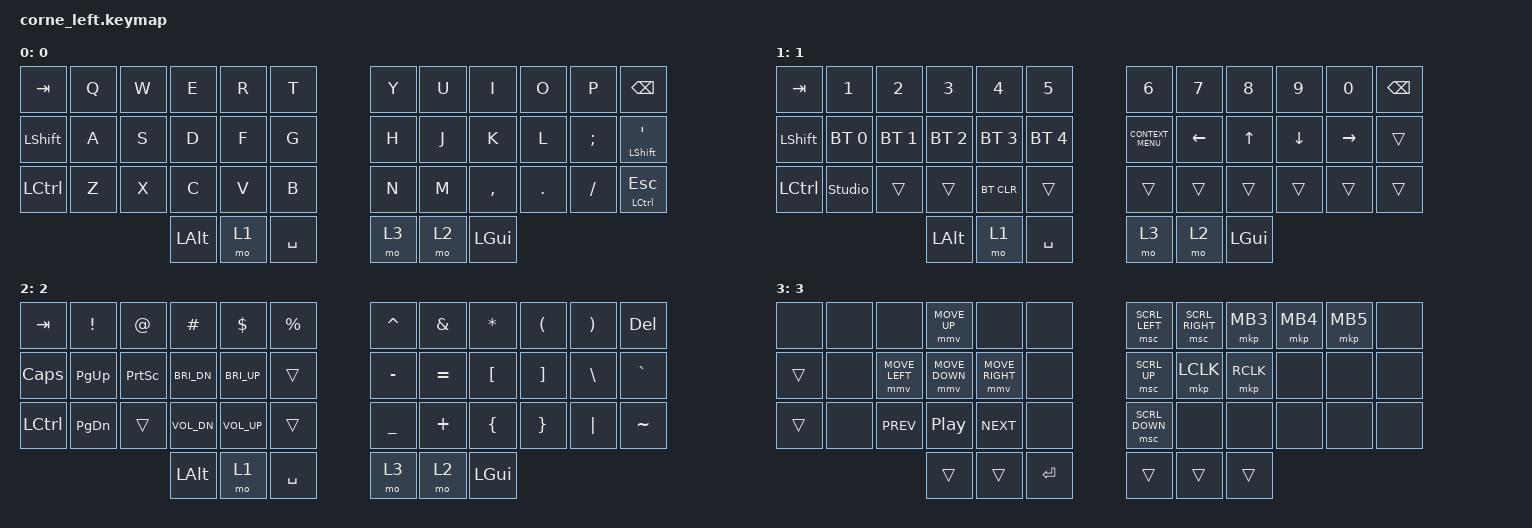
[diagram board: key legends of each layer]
/*
 * Corne keymap (ZMK, nice!nano v2 + SSD1306 OLED)
 *
 * Layer (angka tampil di OLED):
 *   0  default : QWERTY
 *   1  lower   : angka, Bluetooth, navigasi
 *   2  raise   : simbol, media key
 *   3  mouse   : kursor, klik, scroll  ->  aktif lewat &mo3 di thumb
 *
 * Notasi: MB3/MB4/MB5 = tombol mouse 3/4/5
 */

#include <behaviors.dtsi>
#include <dt-bindings/zmk/keys.h>
#include <dt-bindings/zmk/bt.h>

        #ifndef ZMK_POINTING_DEFAULT_MOVE_VAL
#define ZMK_POINTING_DEFAULT_MOVE_VAL 900
#endif

#ifndef ZMK_POINTING_DEFAULT_SCRL_VAL
#define ZMK_POINTING_DEFAULT_SCRL_VAL 25
#endif

#include <zephyr/dt-bindings/input/input-event-codes.h>
#include <dt-bindings/zmk/pointing.h>
#include <input/processors.dtsi>

/ {
        behaviors {
                /omit-if-no-ref/ mmv {
                        compatible = "zmk,behavior-input-two-axis";
                        #binding-cells = <1>;
                        x-input-code = <INPUT_REL_X>;
                        y-input-code = <INPUT_REL_Y>;
                        time-to-max-speed-ms = <250>;
                        acceleration-exponent = <2>;
                        input-processors = <&zip_xy_scaler 8 5>;
                };

                /omit-if-no-ref/ msc {
                        compatible = "zmk,behavior-input-two-axis";
                        #binding-cells = <1>;
                        x-input-code = <INPUT_REL_HWHEEL>;
                        y-input-code = <INPUT_REL_WHEEL>;
                        time-to-max-speed-ms = <250>;
                        acceleration-exponent = <1>;
                        input-processors = <&zip_scroll_scaler 11 5>;
                };
        };

        keymap {
                compatible = "zmk,keymap";

                default_layer {
                        display-name = "0";
//       | TAB  | Q    | W    | E    | R    | T    | Y    | U    | I    | O    | P    | BSPC  |
//       | SHFT | A    | S    | D    | F    | G    | H    | J    | K    | L    | ;    | '/SFT |
//       | CTRL | Z    | X    | C    | V    | B    | N    | M    | ,    | .    | /    | ES/CTL|
//       | ALT  | LWR  | SPC | &mo3 | RSE  | GUI  |
                        bindings = <
   &kp TAB   &kp Q   &kp W   &kp E   &kp R   &kp T    &kp Y   &kp U  &kp I  &kp O  &kp P  &kp BSPC
   &kp LSHFT &kp A   &kp S   &kp D   &kp F   &kp G    &kp H   &kp J  &kp K  &kp L  &kp SEMI &mt LSHFT SQT
   &kp LCTRL &kp Z   &kp X   &kp C   &kp V   &kp B    &kp N   &kp M  &kp COMMA &kp DOT &kp FSLH &mt LCTRL ESC
                   &kp LALT &mo 1 &kp SPACE &mo 3 &mo 2 &kp LGUI
                        >;
                };

                lower_layer {
                        display-name = "1";
//       | TAB  | 1    | 2    | 3    | 4    | 5    | 6    | 7    | 8    | 9    | 0    | BSPC|
//       | SHFT | BT1  | BT2  | BT3  | BT4  | BT5  | MENU | LEFT | UP   | DOWN | RIGHT|     |
//       | CTRL | UNLK |      |      | BTCLR|      |      |      |      |      |      |     |
//       | ALT  | LWR  | SPC | &mo3 | RSE  | GUI  |
                        bindings = <
   &kp TAB   &kp N1  &kp N2  &kp N3  &kp N4  &kp N5   &kp N6  &kp N7  &kp N8  &kp N9  &kp N0  &kp BSPC
   &kp LSHFT &bt BT_SEL 0 &bt BT_SEL 1 &bt BT_SEL 2 &bt BT_SEL 3 &bt BT_SEL 4 &kp K_CONTEXT_MENU &kp LEFT &kp UP &kp DOWN &kp RIGHT &trans
   &kp LCTRL &studio_unlock &trans &trans &bt BT_CLR &trans &trans &trans &trans &trans &trans &trans
                   &kp LALT &mo 1 &kp SPACE &mo 3 &mo 2 &kp LGUI
                        >;
                };

                raise_layer {
                        display-name = "2";
//       | TAB  | !    | @    | #     | $    | %     | ^    | &    | *    | (    | )    | DEL |
//       | CAPS | PgUp | PRTSC| BRDN  | BRUP |       | -    | =    | [    | ]    | \    | `   |
//       | CTRL | PgDn |      | VOLDN | VOLUP|       | _    | +    | {    | }    | \|   | ~   |
//       | ALT  | LWR  | SPC | &mo3 | RSE  | GUI  |
                        bindings = <
   &kp TAB   &kp EXCL &kp AT &kp HASH &kp DLLR &kp PRCNT &kp CARET &kp AMPS &kp ASTRK &kp LPAR &kp RPAR &kp DEL
   &kp CAPS  &kp PG_UP &kp PRINTSCREEN &kp C_BRI_DN &kp C_BRI_UP &trans &kp MINUS &kp EQUAL &kp LBKT &kp RBKT &kp BSLH &kp GRAVE
   &kp LCTRL &kp PG_DN &trans &kp K_VOL_DN &kp K_VOL_UP &trans &kp UNDER &kp PLUS &kp LBRC &kp RBRC &kp PIPE &kp TILDE
                   &kp LALT &mo 1 &kp SPACE &mo 3 &mo 2 &kp LGUI
                        >;
                };

                mouse_layer {
                        display-name = "3";
//       |      |      |       | MOVEU |       |       | SCRLL | SCRLR | MB3  | MB4  | MB5  |    |
//       |      |      | MOVEL | MOVED | MOVER |       | SCRLU | LCLK  | RCLK |      |      |    |
//       |      |      | PREV  | PLAY  | NEXT  |       | SCRLD |       |      |      |      |    |
//       |      |      | ENT   |       |       |       |
                        bindings = <
&none &none &none &mmv MOVE_UP &none &none &msc SCRL_LEFT &msc SCRL_RIGHT &mkp MB3 &mkp MB4 &mkp MB5 &none
  &trans &none &mmv MOVE_LEFT &mmv MOVE_DOWN &mmv MOVE_RIGHT &none &msc SCRL_UP &mkp LCLK &mkp RCLK &none &none &none
  &trans &none &kp C_PREV &kp C_PP &kp C_NEXT &none &msc SCRL_DOWN &none &none &none &none &none
                  &trans &trans &kp RET &trans &trans &trans
                        >;
                };
        };
};
